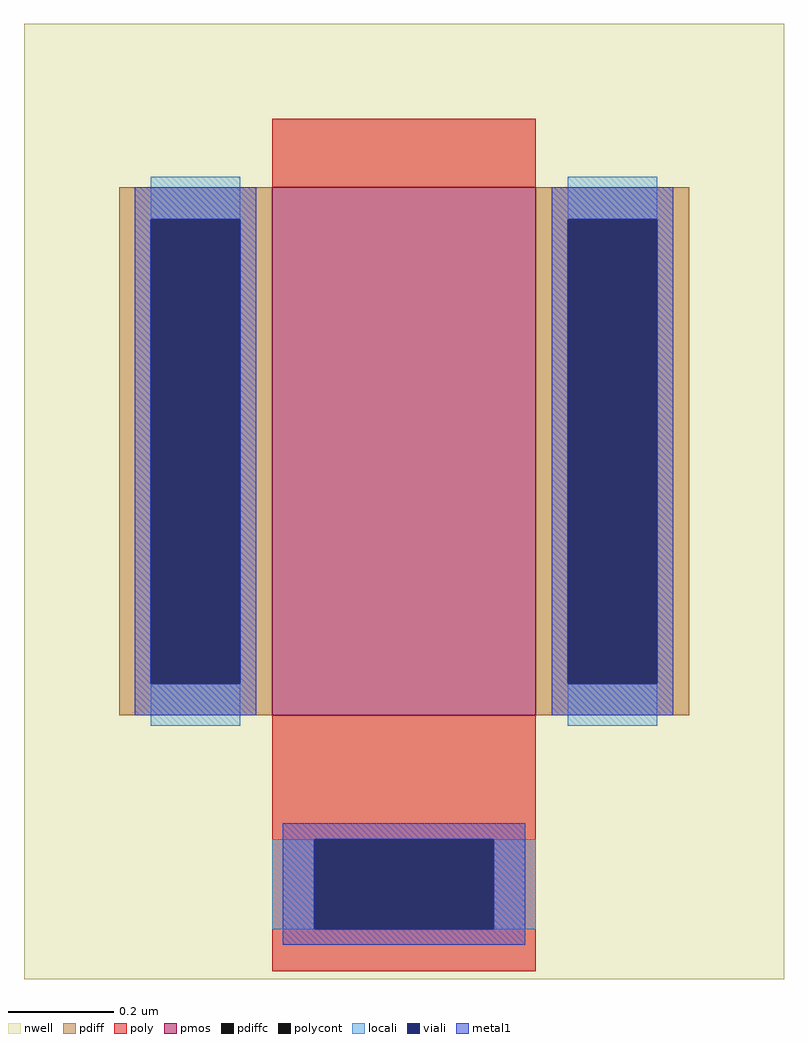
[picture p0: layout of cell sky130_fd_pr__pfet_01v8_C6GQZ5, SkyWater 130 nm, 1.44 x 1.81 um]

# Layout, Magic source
magic
tech sky130A
magscale 1 2
<< nwell >>
rect -144 -164 144 198
<< pmos >>
rect -50 -64 50 136
<< pdiff >>
rect -108 124 -50 136
rect -108 -52 -96 124
rect -62 -52 -50 124
rect -108 -64 -50 -52
rect 50 124 108 136
rect 50 -52 62 124
rect 96 -52 108 124
rect 50 -64 108 -52
<< pdiffc >>
rect -96 -52 -62 124
rect 62 -52 96 124
<< poly >>
rect -50 136 50 162
rect -50 -111 50 -64
rect -50 -145 -34 -111
rect 34 -145 50 -111
rect -50 -161 50 -145
<< polycont >>
rect -34 -145 34 -111
<< locali >>
rect -96 124 -62 140
rect -96 -68 -62 -52
rect 62 124 96 140
rect 62 -68 96 -52
rect -50 -145 -34 -111
rect 34 -145 50 -111
<< viali >>
rect -96 -52 -62 124
rect 62 -52 96 124
rect -34 -145 34 -111
<< metal1 >>
rect -102 124 -56 136
rect -102 -52 -96 124
rect -62 -52 -56 124
rect -102 -64 -56 -52
rect 56 124 102 136
rect 56 -52 62 124
rect 96 -52 102 124
rect 56 -64 102 -52
rect -46 -111 46 -105
rect -46 -145 -34 -111
rect 34 -145 46 -111
rect -46 -151 46 -145
<< properties >>
string gencell sky130_fd_pr__pfet_01v8
string library sky130
string parameters w 1 l 0.5 m 1 nf 1 diffcov 100 polycov 100 guard 0 glc 1 grc 1 gtc 1 gbc 1 tbcov 100 rlcov 100 topc 0 botc 1 poverlap 0 doverlap 1 lmin 0.15 wmin 0.42 compatible {sky130_fd_pr__pfet_01v8  sky130_fd_pr__pfet_01v8_lvt sky130_fd_pr__pfet_01v8_hvt  sky130_fd_pr__pfet_g5v0d10v5} full_metal 1 viasrc 100 viadrn 100 viagate 100 viagb 0 viagr 0 viagl 0 viagt 0
<< end >>
